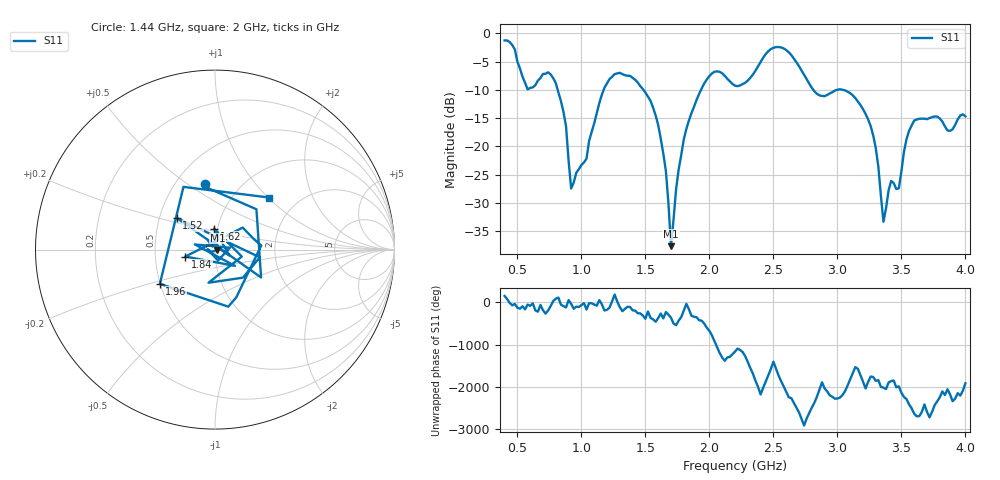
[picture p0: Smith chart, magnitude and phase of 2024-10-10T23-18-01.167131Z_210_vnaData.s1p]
! Created with skrf (http://scikit-rf.org).
# Hz S RI R 50.0
!freq ReS11 ImS11
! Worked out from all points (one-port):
!   181 points, 400 MHz to 4 GHz, reference 50 ohm
!   lowest |S11| = -37.6 dB at 1.7 GHz (marker M1), VSWR 1.03, Z = 51.3 - j0.16 ohm
!   |S11| at or under -10 dB: 814.8 MHz to 1.174 GHz (358.8 MHz wide, 36.1 % of centre); 1.485 GHz to 1.934 GHz (449.1 MHz wide, 26.3 % of centre); 3.045 GHz to end of sweep (the widest 3 of 4)
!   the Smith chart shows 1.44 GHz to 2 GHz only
!   S11 on the Smith chart (normalised r, x): 1.44 GHz: 0.69, +0.58; 1.52 GHz: 0.62, +0.23; 1.62 GHz: 0.96, +0.23; 1.84 GHz: 0.71, -0.06; 1.96 GHz: 0.50, -0.22; 2 GHz: 1.45, +1.02
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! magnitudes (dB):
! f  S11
! 400 MHz  -1.2
! 580 MHz  -9.9
! 760 MHz  -7.3
! 860 MHz  -13.9
! 920 MHz  -27.5
! 1.04 GHz  -22.2
! 1.18 GHz  -9.6
! 1.3 GHz  -7.0
! 1.44 GHz  -8.7
! 1.52 GHz  -11.2
! 1.62 GHz  -18.6
! 1.66 GHz  -24.3
! 1.7 GHz  -37.6
! 1.76 GHz  -24.1
! 1.84 GHz  -15.4
! 1.96 GHz  -8.8
! 2 GHz  -7.5
! 2.2 GHz  -9.2
! 2.5 GHz  -2.5
! 2.66 GHz  -4.5
! 2.84 GHz  -10.7
! 3.1 GHz  -10.6
! 3.28 GHz  -18.1
! 3.36 GHz  -33.3
! 3.42 GHz  -26.1
! 3.48 GHz  -27.4
! 3.56 GHz  -17.2
! 4 GHz  -14.7
